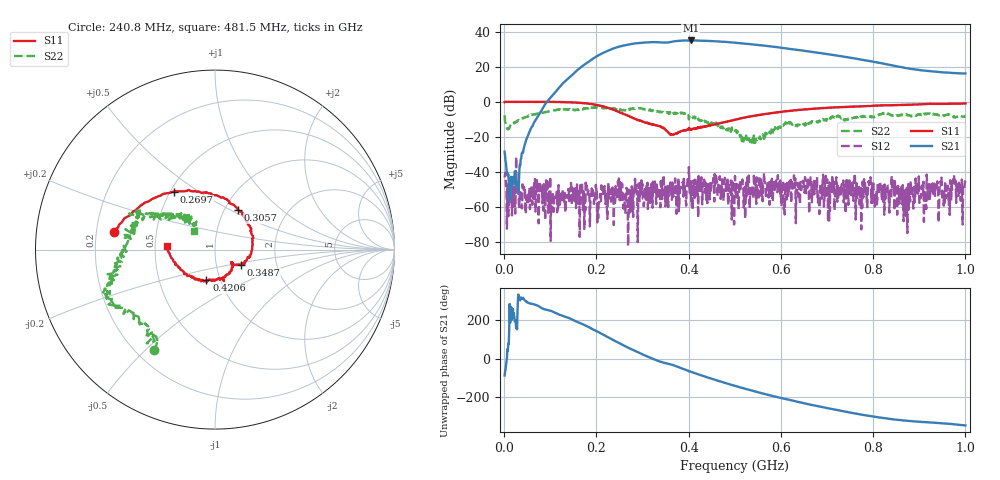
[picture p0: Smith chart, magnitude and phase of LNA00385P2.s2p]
! Created with skrf 1.9.0 (http://scikit-rf.org).
# Hz S RI R 50.0
!freq ReS11 ImS11 ReS21 ImS21 ReS12 ImS12 ReS22 ImS22
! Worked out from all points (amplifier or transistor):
!   1001 points, 1 MHz to 1 GHz, reference 50 ohm
!   highest |S21| = 35.0 dB at 404.6 MHz (marker M1)
!   |S21| within 3 dB of that: 257 MHz to 565.6 MHz (308.5 MHz wide, 75 % of centre)
!   unconditionally stable (mu >= 1): 199.5 MHz to 248.3 MHz; 283.8 MHz to 400.3 MHz; 400.8 MHz to end of sweep (the widest 3 of 44)
!   at 166.8 MHz: K = 0.46, MSG = 34.1 dB, |S12| = -48.3 dB
!   at 500.5 MHz: K = 1.31, MAG = 34.7 dB, |S12| = -42.2 dB
!   at 1 GHz: K = 2.50, MAG = 24.3 dB, |S12| = -46.0 dB
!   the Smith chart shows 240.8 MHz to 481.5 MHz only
!   S11 on the Smith chart (normalised r, x): 240.8 MHz: 0.28, +0.08; 269.7 MHz: 0.52, +0.40; 305.7 MHz: 1.16, +0.55; 348.7 MHz: 1.31, -0.23; 420.6 MHz: 0.86, -0.30; 481.5 MHz: 0.58, +0.03
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1000000  0.9828 -0.00105  0.00202 -0.0379  -0.00351 -0.00606  0.3338 0.2488
1.08892e8  0.5296 -0.8443  -0.8329 -1.556  0.00172 0.001  0.4331 -0.3839
1.67833e8  -0.2189 -0.9048  -10.07 -0.5218  -0.000291 0.0027  0.0441 -0.624
2.08792e8  -0.6572 -0.4132  -15.74 16.58  0.000471 0.0023  -0.2223 -0.6593
2.4076e8  -0.5623 0.0985  -1.486 34.64  -8.6e-05 -0.00141  -0.3382 -0.562
2.69731e8  -0.2306 0.323  23.57 35.93  -0.000706 0.00025  -0.4938 -0.3401
3.05695e8  0.1287 0.2215  46.85 14.24  0.00214 0.000641  -0.5755 -0.1919
3.34666e8  0.207 -7.57e-05  49.09 -10.17  -0.00229 0.000865  -0.5319 -0.0456
3.48652e8  0.1436 -0.0839  45.44 -18.44  -0.000364 0.00364  -0.4993 0.0174
3.74626e8  0.0957 -0.085  41.2 -35.38  0.00298 0.00204  -0.4359 0.1801
4.04596e8  0.0279 -0.1681  21.44 -52.12  0.000472 0.00643  -0.3276 0.1959
4.2058e8  -0.0479 -0.1711  8.701 -55.26  0.000441 0.000229  -0.2736 0.1902
4.49551e8  -0.1809 -0.118  -12.98 -52.49  0.00436 0.00219  -0.172 0.1948
4.81519e8  -0.2685 0.0213  -31.28 -40.31  0.00196 -0.0015  -0.119 0.1053
5.005e8  -0.2885 0.1205  -38.22 -30.52  0.00219 0.00741  -0.0912 0.1203
5.4046e8  -0.2214 0.3295  -42.26 -8.93  0.00138 -0.00113  -0.0678 -0.0126
5.88412e8  -0.0304 0.4949  -34.95 11.23  0.0016 -0.00343  -0.1474 -0.0818
6.28372e8  0.155 0.5513  -23.93 20.08  0.00579 -0.00557  -0.1941 -0.0977
6.67333e8  0.3428 0.5322  -12.79 23.1  -0.00112 -0.000794  -0.263 -0.0341
7.53247e8  0.6324 0.3649  3.683 17.46  -0.00428 -0.00194  -0.3405 0.0416
8.34166e8  0.7841 0.1467  7.776 8.412  -0.000493 -0.00132  -0.4278 0.1465
1e9  0.8158 -0.384  6.302 1.381  -0.00458 0.00199  -0.0989 0.3627
